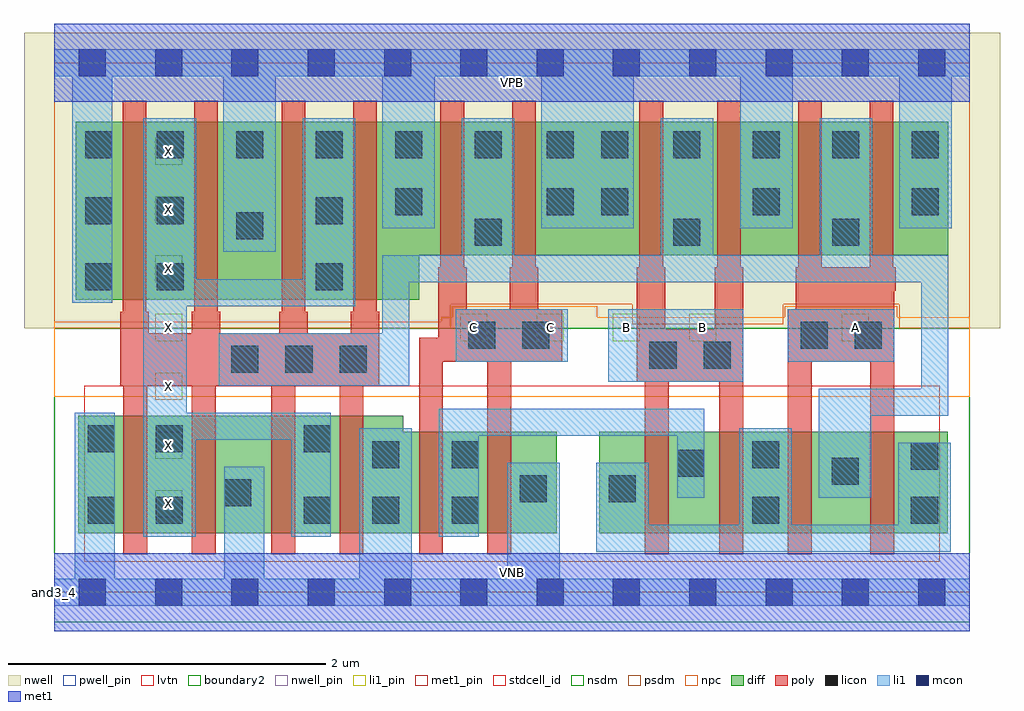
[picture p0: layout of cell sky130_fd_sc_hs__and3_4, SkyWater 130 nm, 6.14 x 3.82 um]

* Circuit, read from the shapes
.subckt sky130_fd_sc_hs__and3_4 A B C VGND VNB VPB VPWR X
XM1 X n1 VGND VNB sky130_fd_pr__nfet_01v8_lvt w=0.74 l=0.15 m=4
XM2 n2 C VGND VNB sky130_fd_pr__nfet_01v8_lvt w=0.64 l=0.15 m=2
XM3 n2 B n3 VNB sky130_fd_pr__nfet_01v8_lvt w=0.64 l=0.15 m=2
XM4 n1 A n3 VNB sky130_fd_pr__nfet_01v8_lvt w=0.64 l=0.15 m=2
XM5 X n1 VPWR VPB sky130_fd_pr__pfet_01v8 w=1.12 l=0.15 m=4
XM6 n1 C VPWR VPB sky130_fd_pr__pfet_01v8 w=0.84 l=0.15 m=2
XM7 n1 B VPWR VPB sky130_fd_pr__pfet_01v8 w=0.84 l=0.15 m=2
XM8 n1 A VPWR VPB sky130_fd_pr__pfet_01v8 w=0.84 l=0.15 m=2
.ends

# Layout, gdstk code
import gdstk
lib = gdstk.Library(unit=1e-6, precision=1e-09)
def R(c, l, rs):  # rectangles x0, y0, x1, y1
    for r in rs: c.add(gdstk.rectangle(r[:2], r[2:], *l))
def A(c, l, x, y, w, h, nx, ny, dx, dy):  # array of equal rectangles
    R(c, l, [(x+i*dx, y+j*dy, x+i*dx+w, y+j*dy+h) for i in range(nx) for j in range(ny)])
def P(c, l, *ps):  # polygons
    for p in ps: c.add(gdstk.Polygon(p, *l))
nwell_pin = (64, 16)
nwell = (64, 20)
diff = (65, 20)
poly = (66, 20)
licon = (66, 44)
li1_pin = (67, 16)
li1 = (67, 20)
mcon = (67, 44)
met1_pin = (68, 16)
met1 = (68, 20)
stdcell_id = (81, 4)
nsdm = (93, 44)
psdm = (94, 20)
npc = (95, 20)
pwell_pin = (122, 16)
lvtn = (125, 44)
boundary2 = (236, 0)

sky130_fd_sc_hs__and3_4 = lib.new_cell('sky130_fd_sc_hs__and3_4')
R(sky130_fd_sc_hs__and3_4, nwell_pin, [(0,3.085,5.76,3.33)])
R(sky130_fd_sc_hs__and3_4, nwell, [(-0.19,1.66,5.95,3.52)])
R(sky130_fd_sc_hs__and3_4, diff, [(3.43,0.37,5.62,1.01)])
P(sky130_fd_sc_hs__and3_4, diff, [(3.16,1.01),(2.195,1.01),(2.195,1.11),(0.15,1.11),(0.15,0.37),(3.16,0.37)],
  [(5.625,2.96),(0.135,2.96),(0.135,1.84),(2.295,1.84),(2.295,2.12),(5.625,2.12)])
P(sky130_fd_sc_hs__and3_4, poly, [(2.045,1.765),(2.03,1.765),(2.03,3.09),(1.88,3.09),(1.88,1.765),(1.865,1.765),(1.865,1.63),(1.595,1.63),(1.595,1.765),(1.58,1.765),(1.58,3.09),(1.43,3.09),(1.43,1.765),(1.415,1.765),(1.415,1.63),(1.045,1.63),(1.045,1.765),(1.03,1.765),(1.03,3.09),(0.88,3.09),(0.88,1.765),(0.865,1.765),(0.865,1.63),(0.595,1.63),(0.595,1.765),(0.58,1.765),(0.58,3.09),(0.43,3.09),(0.43,1.765),(0.415,1.765),(0.415,1.3),(0.435,1.3),(0.435,0.24),(0.585,0.24),(0.585,1.3),(0.865,1.3),(0.865,0.24),(1.015,0.24),(1.015,1.3),(1.365,1.3),(1.365,0.24),(1.515,0.24),(1.515,1.3),(1.795,1.3),(1.795,0.24),(1.945,0.24),(1.945,1.3),(2.045,1.3)],
  [(3.195,1.78),(3.045,1.78),(3.045,2.045),(3.03,2.045),(3.03,3.09),(2.88,3.09),(2.88,2.045),(2.865,2.045),(2.865,1.78),(2.595,1.78),(2.595,2.045),(2.58,2.045),(2.58,3.09),(2.43,3.09),(2.43,2.045),(2.415,2.045),(2.415,1.6),(2.295,1.6),(2.295,0.24),(2.445,0.24),(2.445,1.45),(2.725,1.45),(2.725,0.24),(2.875,0.24),(2.875,1.45),(3.195,1.45)],
  [(4.335,2.045),(4.32,2.045),(4.32,3.09),(4.17,3.09),(4.17,2.045),(4.155,2.045),(4.155,1.655),(3.845,1.655),(3.845,2.045),(3.83,2.045),(3.83,3.09),(3.68,3.09),(3.68,2.045),(3.665,2.045),(3.665,1.325),(3.715,1.325),(3.715,0.24),(3.865,0.24),(3.865,1.325),(4.185,1.325),(4.185,0.24),(4.335,0.24)],
  [(5.295,2.045),(5.28,2.045),(5.28,3.09),(5.13,3.09),(5.13,2.045),(4.83,2.045),(4.83,3.09),(4.68,3.09),(4.68,2.045),(4.665,2.045),(4.665,1.78),(4.615,1.78),(4.615,0.24),(4.765,0.24),(4.765,1.45),(5.135,1.45),(5.135,0.24),(5.285,0.24),(5.285,1.895),(5.295,1.895)])
A(sky130_fd_sc_hs__and3_4, licon, 1.115, 1.38, 0.17, 0.17, 3, 1, 0.34, 0)
A(sky130_fd_sc_hs__and3_4, licon, 0.195, 1.9, 0.17, 0.17, 1, 3, 0, 0.415)
A(sky130_fd_sc_hs__and3_4, licon, 0.645, 2.73, 0.17, 0.17, 5, 1, 0.5, 0)
A(sky130_fd_sc_hs__and3_4, licon, 3.895, 2.73, 0.17, 0.17, 4, 1, 0.5, 0)
R(sky130_fd_sc_hs__and3_4, licon, [(0.21,0.43,0.38,0.6), (0.64,0.43,0.81,0.6), (1.57,0.43,1.74,0.6), (2,0.43,2.17,0.6), (2.5,0.43,2.67,0.6), (4.39,0.43,4.56,0.6), (5.39,0.43,5.56,0.6), (1.07,0.54,1.24,0.71), (2.93,0.565,3.1,0.735), (3.49,0.565,3.66,0.735), (4.89,0.675,5.06,0.845), (3.92,0.725,4.09,0.895), (5.39,0.77,5.56,0.94), (2,0.78,2.17,0.95), (2.5,0.78,2.67,0.95), (4.39,0.78,4.56,0.95), (0.21,0.88,0.38,1.05), (0.64,0.88,0.81,1.05), (1.57,0.88,1.74,1.05), (3.745,1.405,3.915,1.575), (4.085,1.405,4.255,1.575), (2.605,1.53,2.775,1.7), (2.945,1.53,3.115,1.7), (4.695,1.53,4.865,1.7), (5.035,1.53,5.205,1.7), (0.645,1.9,0.815,2.07), (1.645,1.9,1.815,2.07), (2.645,2.18,2.815,2.35), (3.895,2.18,4.065,2.35), (4.895,2.18,5.065,2.35), (1.145,2.22,1.315,2.39), (0.645,2.315,0.815,2.485), (1.645,2.315,1.815,2.485), (2.145,2.37,2.315,2.54), (3.1,2.37,3.27,2.54), (3.44,2.37,3.61,2.54), (4.395,2.37,4.565,2.54), (5.395,2.37,5.565,2.54), (3.1,2.73,3.27,2.9), (3.44,2.73,3.61,2.9)])
A(sky130_fd_sc_hs__and3_4, li1_pin, 0.635, 0.47, 0.17, 0.17, 1, 7, 0, 0.37)
A(sky130_fd_sc_hs__and3_4, li1_pin, 2.555, 1.58, 0.17, 0.17, 4, 1, 0.48, 0)
R(sky130_fd_sc_hs__and3_4, li1_pin, [(4.955,1.58,5.125,1.75)])
R(sky130_fd_sc_hs__and3_4, li1, [(3.485,1.325,4.335,1.78), (2.525,1.45,3.23,1.78), (4.615,1.45,5.285,1.78)])
P(sky130_fd_sc_hs__and3_4, li1, [(0,-0.085),(0,0.085),(0.13,0.085),(0.13,1.13),(0.38,1.13),(0.38,0.085),(1.07,0.085),(1.07,0.79),(1.32,0.79),(1.32,0.085),(1.92,0.085),(1.92,1.03),(2.25,1.03),(2.25,0.085),(2.85,0.085),(2.85,0.815),(3.18,0.815),(3.18,0.085),(5.76,0.085),(5.76,-0.085)],
  [(0,3.245),(0,3.415),(5.76,3.415),(5.76,3.245),(5.645,3.245),(5.645,2.29),(5.315,2.29),(5.315,3.245),(4.645,3.245),(4.645,2.29),(4.315,2.29),(4.315,3.245),(3.645,3.245),(3.645,2.29),(3.065,2.29),(3.065,3.245),(2.395,3.245),(2.395,2.29),(2.065,2.29),(2.065,3.245),(1.395,3.245),(1.395,2.14),(1.065,2.14),(1.065,3.245),(0.365,3.245),(0.365,1.82),(0.115,1.82),(0.115,3.245)],
  [(0.56,2.98),(0.895,2.98),(0.895,1.97),(1.565,1.97),(1.565,2.98),(1.895,2.98),(1.895,1.8),(0.835,1.8),(0.835,1.13),(1.74,1.13),(1.74,0.35),(1.49,0.35),(1.49,0.96),(0.89,0.96),(0.89,0.35),(0.56,0.35)],
  [(5.625,1.11),(5.14,1.11),(5.14,0.595),(4.81,0.595),(4.81,1.28),(5.455,1.28),(5.455,1.95),(2.235,1.95),(2.235,1.3),(1.035,1.3),(1.035,1.63),(2.065,1.63),(2.065,2.12),(2.565,2.12),(2.565,2.98),(2.895,2.98),(2.895,2.12),(3.815,2.12),(3.815,2.98),(4.145,2.98),(4.145,2.12),(4.815,2.12),(4.815,2.98),(5.145,2.98),(5.145,2.12),(5.625,2.12)],
  [(4.31,0.425),(4.31,1.03),(4.64,1.03),(4.64,0.425),(5.31,0.425),(5.31,0.94),(5.64,0.94),(5.64,0.255),(3.41,0.255),(3.41,0.815),(3.74,0.815),(3.74,0.425)],
  [(3.92,0.595),(3.92,0.985),(2.67,0.985),(2.67,0.35),(2.42,0.35),(2.42,1.155),(4.09,1.155),(4.09,0.595)])
A(sky130_fd_sc_hs__and3_4, mcon, 0.155, -0.085, 0.17, 0.17, 12, 2, 0.48, 3.33)
R(sky130_fd_sc_hs__and3_4, met1_pin, [(0,0,5.76,0.245), (0,3.085,5.76,3.33)])
R(sky130_fd_sc_hs__and3_4, met1, [(0,-0.245,5.76,0.245), (0,3.085,5.76,3.575)])
R(sky130_fd_sc_hs__and3_4, stdcell_id, [(0,0,5.76,3.33)])
R(sky130_fd_sc_hs__and3_4, nsdm, [(0,-0.19,5.76,1.66)])
P(sky130_fd_sc_hs__and3_4, psdm, [(5.76,3.52),(0,3.52),(0,1.66),(2.495,1.66),(2.495,1.81),(3.635,1.81),(3.635,1.685),(4.585,1.685),(4.585,1.81),(5.315,1.81),(5.315,1.66),(5.76,1.66)])
P(sky130_fd_sc_hs__and3_4, npc, [(5.76,1.73),(5.305,1.73),(5.305,1.8),(4.595,1.8),(4.595,1.73),(3.415,1.73),(3.415,1.8),(2.505,1.8),(2.505,1.73),(2.435,1.73),(2.435,1.7),(0,1.7),(0,1.23),(5.76,1.23)])
R(sky130_fd_sc_hs__and3_4, pwell_pin, [(0,0,5.76,0.245)])
R(sky130_fd_sc_hs__and3_4, lvtn, [(0.19,0.19,5.57,1.3)])
R(sky130_fd_sc_hs__and3_4, boundary2, [(0,0,5.76,3.33)])
sky130_fd_sc_hs__and3_4.add(gdstk.Label('and3_4', (0,0), layer=83, texttype=44))
sky130_fd_sc_hs__and3_4.add(gdstk.Label('VNB', (2.88,0.123), layer=64, texttype=59))
sky130_fd_sc_hs__and3_4.add(gdstk.Label('VPB', (2.88,3.208), layer=64, texttype=5))
sky130_fd_sc_hs__and3_4.add(gdstk.Label('VPWR', (2.88,3.208), layer=68, texttype=5))
sky130_fd_sc_hs__and3_4.add(gdstk.Label('VGND', (2.88,0.123), layer=68, texttype=5))
sky130_fd_sc_hs__and3_4.add(gdstk.Label('X', (0.72,0.555), layer=67, texttype=5))
sky130_fd_sc_hs__and3_4.add(gdstk.Label('X', (0.72,0.925), layer=67, texttype=5))
sky130_fd_sc_hs__and3_4.add(gdstk.Label('X', (0.72,1.295), layer=67, texttype=5))
sky130_fd_sc_hs__and3_4.add(gdstk.Label('X', (0.72,1.665), layer=67, texttype=5))
sky130_fd_sc_hs__and3_4.add(gdstk.Label('X', (0.72,2.035), layer=67, texttype=5))
sky130_fd_sc_hs__and3_4.add(gdstk.Label('X', (0.72,2.405), layer=67, texttype=5))
sky130_fd_sc_hs__and3_4.add(gdstk.Label('X', (0.72,2.775), layer=67, texttype=5))
sky130_fd_sc_hs__and3_4.add(gdstk.Label('A', (5.04,1.665), layer=67, texttype=5))
sky130_fd_sc_hs__and3_4.add(gdstk.Label('B', (3.6,1.665), layer=67, texttype=5))
sky130_fd_sc_hs__and3_4.add(gdstk.Label('B', (4.08,1.665), layer=67, texttype=5))
sky130_fd_sc_hs__and3_4.add(gdstk.Label('C', (2.64,1.665), layer=67, texttype=5))
sky130_fd_sc_hs__and3_4.add(gdstk.Label('C', (3.12,1.665), layer=67, texttype=5))

lib.write_gds('sky130_fd_sc_hs__and3_4.gds')
